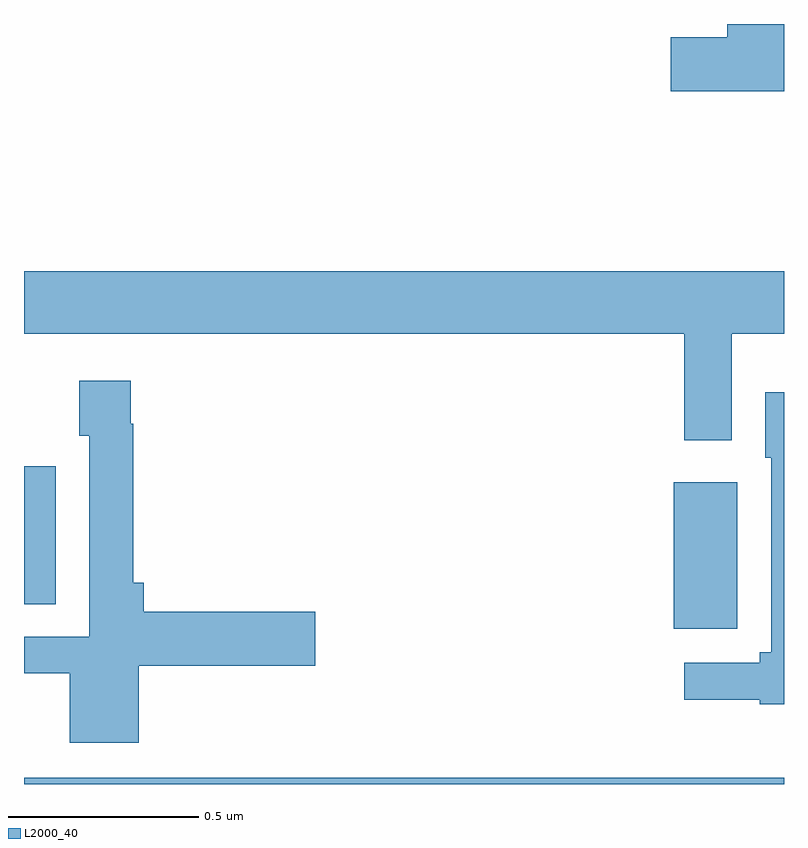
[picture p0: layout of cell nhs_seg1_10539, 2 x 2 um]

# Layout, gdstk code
import gdstk
lib = gdstk.Library(unit=1e-6, precision=1e-09)
def R(c, l, rs):  # rectangles x0, y0, x1, y1
    for r in rs: c.add(gdstk.rectangle(r[:2], r[2:], *l))
def P(c, l, *ps):  # polygons
    for p in ps: c.add(gdstk.Polygon(p, *l))
L2000_40 = (2000, 40)

nhs_seg1_10539 = lib.new_cell('nhs_seg1_10539')
R(nhs_seg1_10539, L2000_40, [(242,565.199,244,565.216), (243.71,565.607,243.877,565.993), (242,565.672,242.083,566.035)])
P(nhs_seg1_10539, L2000_40, [(244,567.199),(243.851,567.199),(243.851,567.164),(243.702,567.164),(243.702,567.022),(244,567.022)],
  [(243.862,566.384),(244,566.384),(244,566.548),(242,566.548),(242,566.384),(243.737,566.384),(243.737,566.103),(243.862,566.103)],
  [(242.302,565.51),(242.767,565.51),(242.767,565.652),(242.315,565.652),(242.315,565.729),(242.288,565.729),(242.288,566.147),(242.281,566.147),(242.281,566.26),(242.146,566.26),(242.146,566.115),(242.172,566.115),(242.172,565.587),(242,565.587),(242,565.491),(242.12,565.491),(242.12,565.307),(242.302,565.307)],
  [(244,566.23),(243.95,566.23),(243.95,566.058),(243.966,566.058),(243.966,565.546),(243.936,565.546),(243.936,565.518),(243.738,565.518),(243.738,565.421),(243.936,565.421),(243.936,565.409),(244,565.409)])

lib.write_gds('nhs_seg1_10539.gds')
